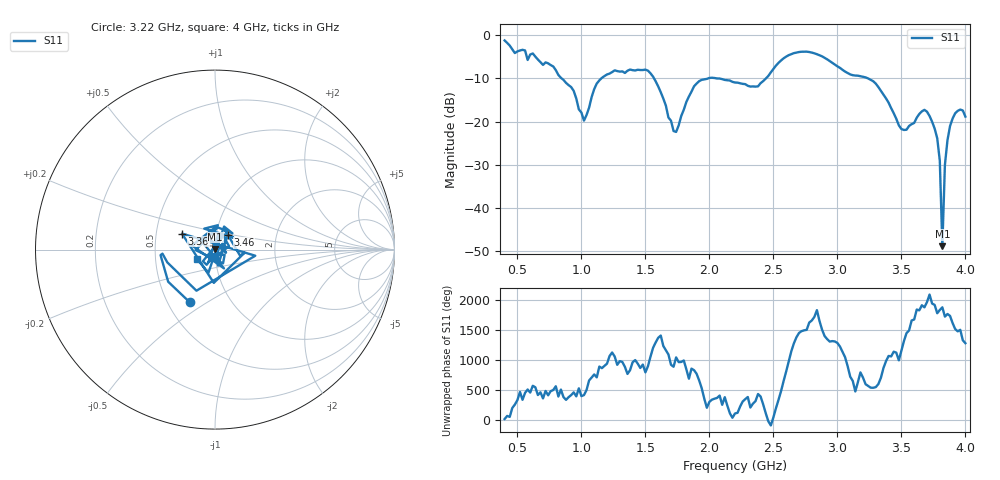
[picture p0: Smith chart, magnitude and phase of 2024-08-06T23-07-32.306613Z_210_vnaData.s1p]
!Created with skrf (http://scikit-rf.org).
# Hz S RI R 50.0
!freq ReS11 ImS11
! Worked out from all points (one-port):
!   181 points, 400 MHz to 4 GHz, reference 50 ohm
!   lowest |S11| = -48.9 dB at 3.82 GHz (marker M1), VSWR 1.01, Z = 50 + j0.358 ohm
!   |S11| at or under -10 dB: 1.568 GHz to 1.989 GHz (421.6 MHz wide, 23.7 % of centre); 2.059 GHz to 2.442 GHz (382.7 MHz wide, 17 % of centre); 3.24 GHz to end of sweep (the widest 3 of 4)
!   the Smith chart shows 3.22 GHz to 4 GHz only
!   S11 on the Smith chart (normalised r, x): 3.22 GHz: 0.64, -0.42; 3.36 GHz: 0.68, +0.13; 3.46 GHz: 1.13, +0.19; 4 GHz: 0.81, -0.08
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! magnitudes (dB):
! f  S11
! 400 MHz  -1.2
! 860 MHz  -10.3
! 940 MHz  -12.9
! 1.02 GHz  -19.8
! 1.12 GHz  -11.2
! 1.3 GHz  -8.4
! 1.52 GHz  -8.2
! 1.62 GHz  -13.2
! 1.72 GHz  -22.2
! 1.76 GHz  -20.9
! 1.92 GHz  -10.6
! 2.2 GHz  -10.9
! 2.38 GHz  -11.8
! 2.66 GHz  -4.1
! 2.84 GHz  -4.4
! 3.1 GHz  -9.1
! 3.22 GHz  -9.8
! 3.36 GHz  -13.8
! 3.46 GHz  -19.3
! 3.56 GHz  -21.0
! 3.68 GHz  -17.3
! 3.76 GHz  -21.6
! 3.8 GHz  -29.0
! 3.82 GHz  -48.9
! 3.84 GHz  -30.0
! 3.86 GHz  -24.3
! 3.92 GHz  -18.1
! 4 GHz  -18.8
